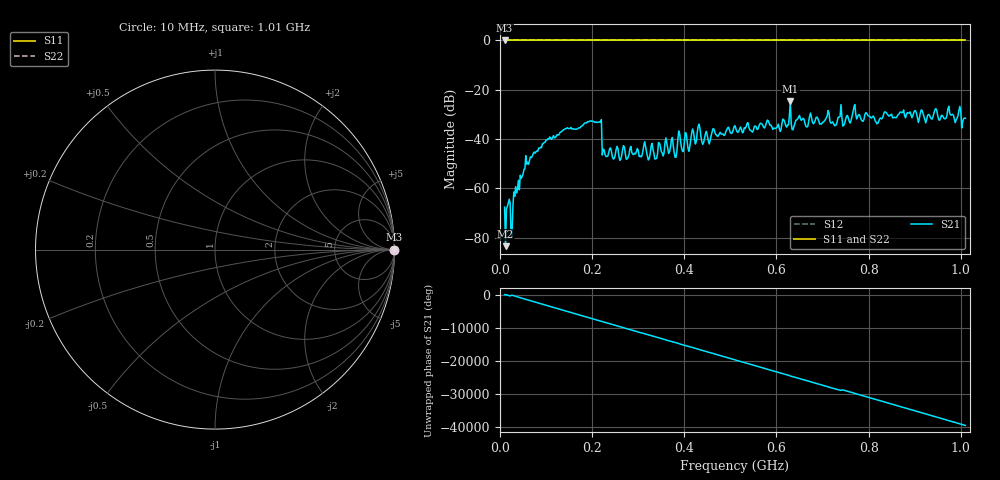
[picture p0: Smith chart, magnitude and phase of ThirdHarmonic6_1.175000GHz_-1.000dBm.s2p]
! 8/16/2025 11:56:49 AM
! C:\ANRITSUVNA\TEMP\TEMP.S2P
! CHANNEL.1
! TR.MEASUREMENT
! RAW.DATA
! RF.CORRECTION.OFF
! AVERAGING.OFF
! IF.BANDWIDTH: 5KHZ
! SWEEPTYPE:  FREQ.SWEEP(Linear)
! Reference Plane Port Info
! PORT:  PORT1  PORT2
! DISTANCE:  0  m  0  m
! TIME:  0  s  0  s
! PHASE.OFFSET:  0  deg.  0  deg.
! LOSS:  0  dB  0  dB
! REF.LOSS:  0  dB  0  dB
! REF.FREQ:  0  Hz  0  Hz
! Power Info
! POWER:  -20  dBm  -20  dBm
! EFF.POWER:  -20  dBm  -20  dBm
! SOURCE.ATTEN:  0  dB  0  dB
! TEST.ATTEN:  0  dB  0  dB
# GHZ S RI R 50.0
! FREQ.GHZ  S11RE  S11IM  S21RE  S21IM  S12RE  S12IM  S22RE  S22IM
!; PortSelection: Port_12
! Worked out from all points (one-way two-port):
!   501 points, 10 MHz to 1.01 GHz, reference 50 ohm
!   highest |S21| = -24.63 dB at 630 MHz (marker M1); lowest = -83.4 dB at 12 MHz (marker M2)
!   lowest |S11| = 0.0 dB at 10 MHz (marker M3)
!   |S11| at or under -10 dB: nowhere
!   |S22| runs from 0.0 to 0.0 dB; largest |S21 - S12| = 1
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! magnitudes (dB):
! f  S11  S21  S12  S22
! 10 MHz  0.0  -67.5  0.0  0.0
! 12 MHz  0.0  -83.4  0.0  0.0
! 18 MHz  0.0  -65.9  0.0  0.0
! 28 MHz  0.0  -67.5  0.0  0.0
! 34 MHz  0.0  -59.2  0.0  0.0
! 70 MHz  0.0  -46.9  0.0  0.0
! 178 MHz  0.0  -34.7  0.0  0.0
! 216 MHz  0.0  -33.0  0.0  0.0
! 226 MHz  0.0  -44.3  0.0  0.0
! 232 MHz  0.0  -47.0  0.0  0.0
! 344 MHz  0.0  -41.4  0.0  0.0
! 374 MHz  0.0  -39.3  0.0  0.0
! 380 MHz  0.0  -47.3  0.0  0.0
! 388 MHz  0.0  -36.7  0.0  0.0
! 410 MHz  0.0  -44.9  0.0  0.0
! 432 MHz  0.0  -33.9  0.0  0.0
! 440 MHz  0.0  -42.1  0.0  0.0
! 510 MHz  0.0  -34.5  0.0  0.0
! 630 MHz  0.0  -24.6  0.0  0.0
! 678 MHz  0.0  -33.1  0.0  0.0
! 844 MHz  0.0  -30.7  0.0  0.0
! 1.01 GHz  0.0  -31.5  0.0  0.0
